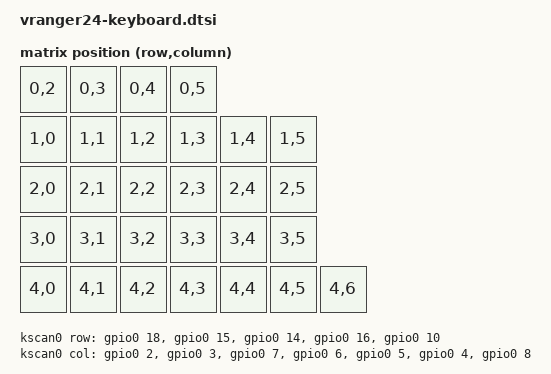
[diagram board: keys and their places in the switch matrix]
#include <dt-bindings/zmk/matrix_transform.h>

/ {
    chosen {
        zmk,kscan = &kscan0;
        zmk,display = &oled;
        zmk,matrix-transform = &default_transform;
    };

    /*
     * 29-key layout: num(4) + top(6) + home(6) + bottom(6) + thumb(7).
     * Maps logical keymap positions to physical (row,col). Unused 5×7 positions are skipped.
     */
    default_transform: default_transform {
        compatible = "zmk,matrix-transform";
        rows = <1>;
        columns = <29>;
        map = <
            /* num: 4 */
            RC(0,2) RC(0,3) RC(0,4) RC(0,5)
            /* top: 6 */
            RC(1,0) RC(1,1) RC(1,2) RC(1,3) RC(1,4) RC(1,5)
            /* home: 6 */
            RC(2,0) RC(2,1) RC(2,2) RC(2,3) RC(2,4) RC(2,5)
            /* bottom: 6 */
            RC(3,0) RC(3,1) RC(3,2) RC(3,3) RC(3,4) RC(3,5)
            /* thumb: 7 */
            RC(4,0) RC(4,1) RC(4,2) RC(4,3) RC(4,4) RC(4,5) RC(4,6)
        >;
    };

    kscan0: kscan {
        compatible = "zmk,kscan-gpio-matrix";
        label = "KSCAN";

        /* ROWS: num, top, home, bottom, thumb */
        row-gpios = <
            &gpio0 18 (GPIO_ACTIVE_LOW)
            &gpio0 15 (GPIO_ACTIVE_LOW)
            &gpio0 14 (GPIO_ACTIVE_LOW)
            &gpio0 16 (GPIO_ACTIVE_LOW)
            &gpio0 10 (GPIO_ACTIVE_LOW)
        >;

        /* COLUMNS: outer → thumbspace */
        col-gpios = <
            &gpio0 2  (GPIO_ACTIVE_LOW)
            &gpio0 3  (GPIO_ACTIVE_LOW)
            &gpio0 7  (GPIO_ACTIVE_LOW)
            &gpio0 6  (GPIO_ACTIVE_LOW)
            &gpio0 5  (GPIO_ACTIVE_LOW)
            &gpio0 4  (GPIO_ACTIVE_LOW)
            &gpio0 8  (GPIO_ACTIVE_LOW)
        >;

        diode-direction = "col2row";
    };

    oled: oled {
        compatible = "ssd1306";
        width = <128>;
        height = <64>;
    };
};

&i2c0 {
    status = "okay";
    sda-pin = <0>;
    scl-pin = <1>;
};
